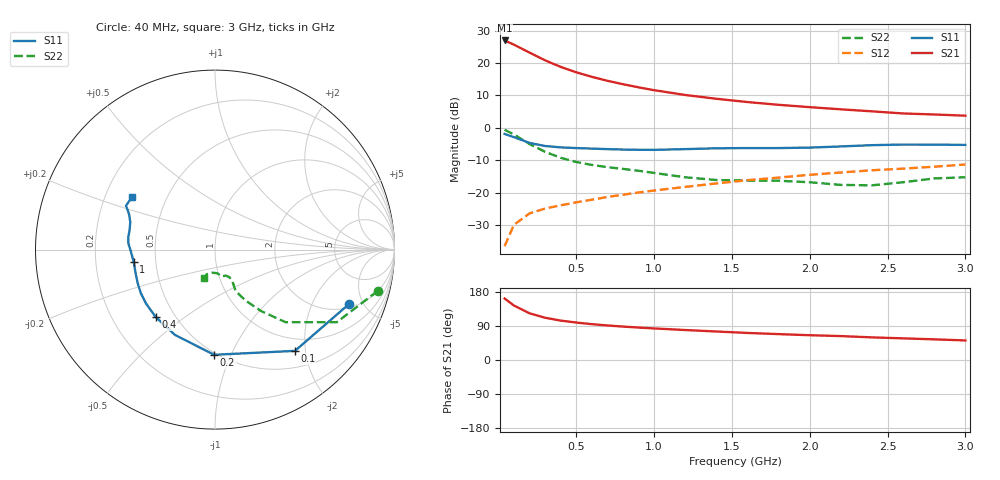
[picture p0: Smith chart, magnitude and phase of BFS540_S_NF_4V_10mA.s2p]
! Filename:  BFS540B.S2P  Version:  4.0
! Philips part #: BFS540  Date: Jun 1994
! Bias condition: Vce=4V, Ic=10mA
#  MHz  S  MA  R  50
! Freq  S11  S21  S12  S22  !GUM [dB]
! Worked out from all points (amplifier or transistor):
!   21 points, 40 MHz to 3 GHz, reference 50 ohm
!   highest |S21| = 26.9 dB at 40 MHz (marker M1)
!   |S21| within 3 dB of that: start of sweep to 169.5 MHz
!   unconditionally stable (mu >= 1): 902.3 MHz to end of sweep
!   at 300 MHz: K = 0.59, MSG = 22.9 dB, |S12| = -24.9 dB
!   at 1 GHz: K = 1.04, MAG = 14.3 dB, |S12| = -19.3 dB
!   at 3 GHz: K = 1.01, MAG = 6.9 dB, |S12| = -11.3 dB
!   lowest NFmin = 1.10 dB at 500 MHz
!   S11 on the Smith chart (normalised r, x): 40 MHz: 2.24, -3.89; 100 MHz: 0.77, -1.80; 200 MHz: 0.49, -0.87; 400 MHz: 0.39, -0.39; 1 GHz: 0.37, -0.06; 3 GHz: 0.32, +0.26
40  0.806 -22.1  22.25 162.2  0.015 77.7  0.935 -14.3
100  0.719 -51.7  19.15 143.7  0.032 64.2  0.79 -30.8
200  0.586 -90.5  14.46 123.2  0.048 53.9  0.564 -45.8
300  0.525 -115.2  10.99 111.5  0.057 51.5  0.427 -53.2
400  0.5 -131.3  8.703 104.0  0.064 51.9  0.346 -57.9
500  0.488 -141.9  7.19 98.8  0.071 53.2  0.298 -61.0
600  0.479 -149.8  6.117 94.6  0.078 54.9  0.268 -62.6
700  0.47 -156.2  5.321 91.2  0.086 56.9  0.248 -63.2
800  0.463 -161.7  4.704 88.2  0.093 58.6  0.233 -62.7
900  0.459 -166.8  4.214 85.6  0.101 59.9  0.218 -62.0
1000  0.458 -171.6  3.809 83.3  0.108 61.4  0.202 -61.4
1200  0.47 -179.2  3.211 79.1  0.123 63.7  0.173 -62.4
1400  0.484 175.8  2.807 75.2  0.139 65.5  0.157 -67.6
1600  0.488 171.8  2.499 71.4  0.156 66.0  0.154 -74.4
1800  0.488 167.4  2.266 68.3  0.171 67.0  0.153 -77.0
2000  0.496 162.1  2.085 65.4  0.189 67.8  0.145 -78.7
2200  0.517 157.7  1.93 63.1  0.205 68.7  0.132 -84.9
2400  0.541 154.9  1.797 59.7  0.222 68.8  0.13 -98.0
2600  0.553 153.8  1.667 57.1  0.235 68.2  0.145 -108.8
2800  0.551 151.8  1.607 54.5  0.252 68.4  0.166 -110.9
3000  0.546 147.8  1.541 51.6  0.272 68.1  0.173 -111.6
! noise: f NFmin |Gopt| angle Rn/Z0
500  1.1  0.159  78  0.14
900  1.3  0.234  133  0.14
2000  2.1  0.52  -165  0.07
